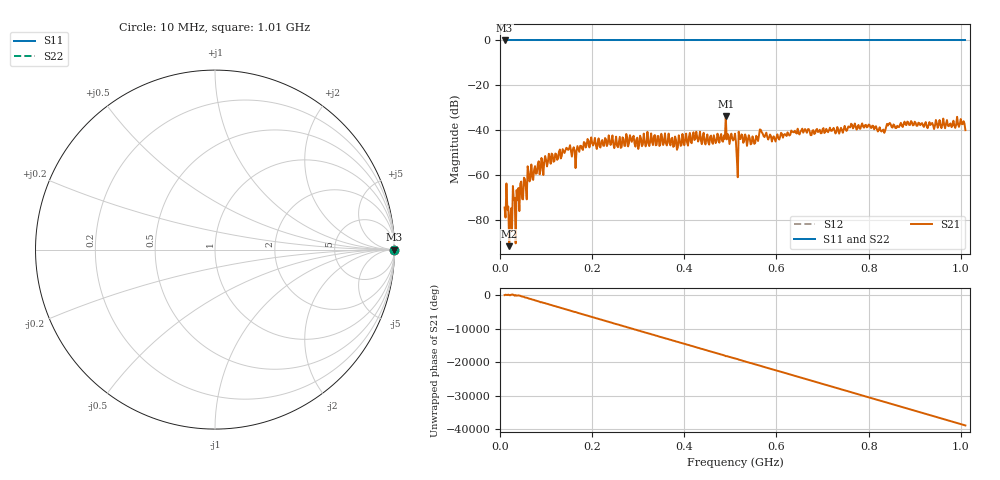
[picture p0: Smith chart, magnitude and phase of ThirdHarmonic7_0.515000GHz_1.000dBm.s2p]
! 8/17/2025 3:01:56 PM
! C:\ANRITSUVNA\TEMP\TEMP.S2P
! CHANNEL.1
! TR.MEASUREMENT
! RAW.DATA
! RF.CORRECTION.OFF
! AVERAGING.OFF
! IF.BANDWIDTH: 5KHZ
! SWEEPTYPE:  FREQ.SWEEP(Linear)
! Reference Plane Port Info
! PORT:  PORT1  PORT2
! DISTANCE:  0  m  0  m
! TIME:  0  s  0  s
! PHASE.OFFSET:  0  deg.  0  deg.
! LOSS:  0  dB  0  dB
! REF.LOSS:  0  dB  0  dB
! REF.FREQ:  0  Hz  0  Hz
! Power Info
! POWER:  -20  dBm  -20  dBm
! EFF.POWER:  -20  dBm  -20  dBm
! SOURCE.ATTEN:  0  dB  0  dB
! TEST.ATTEN:  0  dB  0  dB
# GHZ S RI R 50.0
! FREQ.GHZ  S11RE  S11IM  S21RE  S21IM  S12RE  S12IM  S22RE  S22IM
!; PortSelection: Port_12
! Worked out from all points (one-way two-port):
!   501 points, 10 MHz to 1.01 GHz, reference 50 ohm
!   highest |S21| = -33.71 dB at 490 MHz (marker M1); lowest = -91.6 dB at 20 MHz (marker M2)
!   lowest |S11| = 0.0 dB at 10 MHz (marker M3)
!   |S11| at or under -10 dB: nowhere
!   |S22| runs from 0.0 to 0.0 dB; largest |S21 - S12| = 1
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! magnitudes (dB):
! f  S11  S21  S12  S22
! 10 MHz  0.0  -74.4  0.0  0.0
! 20 MHz  0.0  -91.6  0.0  0.0
! 54 MHz  0.0  -61.7  0.0  0.0
! 64 MHz  0.0  -62.8  0.0  0.0
! 148 MHz  0.0  -48.7  0.0  0.0
! 160 MHz  0.0  -47.6  0.0  0.0
! 178 MHz  0.0  -48.2  0.0  0.0
! 344 MHz  0.0  -42.6  0.0  0.0
! 464 MHz  0.0  -42.2  0.0  0.0
! 490 MHz  0.0  -33.7  0.0  0.0
! 510 MHz  0.0  -41.5  0.0  0.0
! 512 MHz  0.0  -45.1  0.0  0.0
! 518 MHz  0.0  -40.6  0.0  0.0
! 522 MHz  0.0  -43.9  0.0  0.0
! 548 MHz  0.0  -42.7  0.0  0.0
! 566 MHz  0.0  -39.8  0.0  0.0
! 594 MHz  0.0  -42.7  0.0  0.0
! 678 MHz  0.0  -40.2  0.0  0.0
! 766 MHz  0.0  -39.2  0.0  0.0
! 832 MHz  0.0  -39.7  0.0  0.0
! 844 MHz  0.0  -37.1  0.0  0.0
! 1.01 GHz  0.0  -39.9  0.0  0.0
